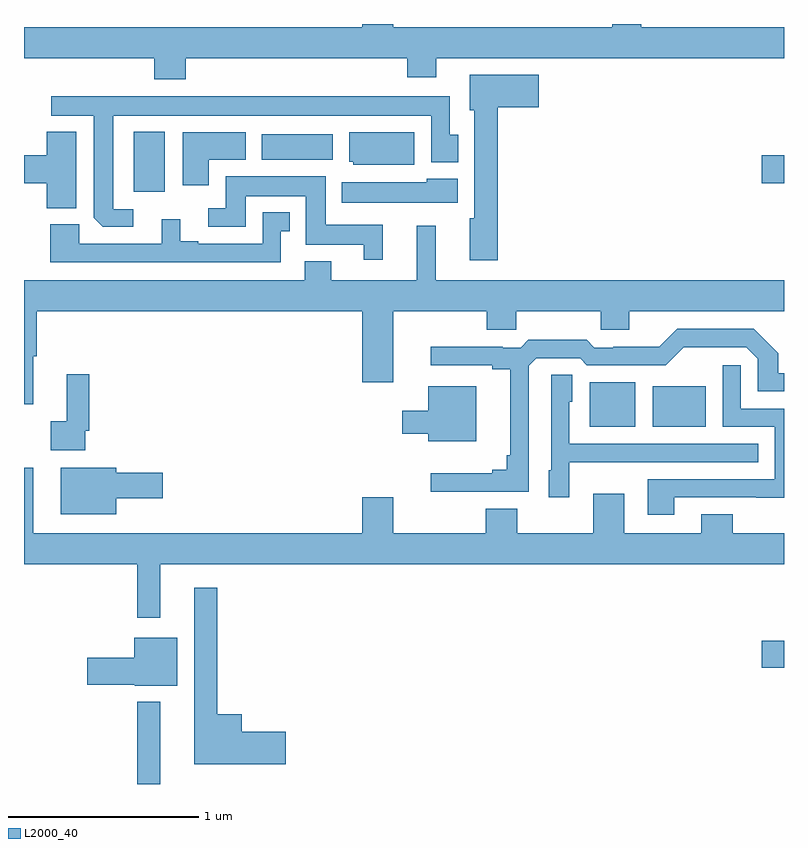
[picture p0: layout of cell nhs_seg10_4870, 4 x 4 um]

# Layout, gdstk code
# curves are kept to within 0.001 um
import gdstk
lib = gdstk.Library(unit=1e-6, precision=1e-09)
def R(c, l, rs):  # rectangles x0, y0, x1, y1
    for r in rs: c.add(gdstk.rectangle(r[:2], r[2:], *l))
def P(c, l, *ps):  # polygons
    for p in ps: c.add(gdstk.Polygon(p, *l))
L2000_40 = (2000, 40)

nhs_seg10_4870 = lib.new_cell('nhs_seg10_4870')
R(nhs_seg10_4870, L2000_40, [(391.596,1292.5,391.717,1292.932), (394.884,1293.113,395,1293.255), (393.977,1294.379,394.216,1294.615), (394.31,1294.379,394.588,1294.594), (391.577,1295.616,391.741,1295.932), (394.884,1295.663,395,1295.81), (392.252,1295.786,392.626,1295.92)])
P(nhs_seg10_4870, L2000_40, [(391.85,1296.32),(393.017,1296.32),(393.017,1296.221),(393.169,1296.221),(393.169,1296.32),(395,1296.32),(395,1296.484),(394.248,1296.484),(394.248,1296.5),(394.097,1296.5),(394.097,1296.484),(392.944,1296.484),(392.944,1296.5),(392.78,1296.5),(392.78,1296.484),(391,1296.484),(391,1296.32),(391.685,1296.32),(391.685,1296.209),(391.85,1296.209)],
  [(393.494,1296.062),(393.709,1296.062),(393.709,1296.232),(393.347,1296.232),(393.347,1296.045),(393.371,1296.045),(393.371,1295.478),(393.347,1295.478),(393.347,1295.256),(393.494,1295.256)],
  [(391.576,1295.526),(391.471,1295.526),(391.471,1296.017),(393.144,1296.017),(393.144,1295.772),(393.286,1295.772),(393.286,1295.916),(393.241,1295.916),(393.241,1296.121),(391.143,1296.121),(391.143,1296.017),(391.367,1296.017),(391.368,1295.479),(391.414,1295.433),(391.576,1295.433)],
  [(391.276,1295.932),(391.121,1295.932),(391.121,1295.81),(391,1295.81),(391,1295.663),(391.121,1295.663),(391.121,1295.531),(391.276,1295.531)],
  [(393.055,1295.929),(392.711,1295.929),(392.711,1295.775),(392.733,1295.775),(392.733,1295.759),(393.055,1295.759)],
  [(391.972,1295.786),(392.167,1295.786),(392.167,1295.929),(391.835,1295.929),(391.835,1295.652),(391.972,1295.652)],
  [(392.888,1295.443),(392.587,1295.443),(392.587,1295.698),(392.063,1295.698),(392.063,1295.529),(391.971,1295.529),(391.971,1295.433),(392.167,1295.433),(392.167,1295.594),(392.483,1295.594),(392.483,1295.339),(392.789,1295.339),(392.789,1295.259),(392.888,1295.259)],
  [(393.283,1295.686),(393.12,1295.686),(393.12,1295.668),(392.672,1295.668),(392.672,1295.558),(393.283,1295.558)],
  [(392.352,1295.409),(392.398,1295.409),(392.398,1295.509),(392.256,1295.509),(392.256,1295.343),(391.918,1295.343),(391.918,1295.356),(391.822,1295.356),(391.822,1295.473),(391.724,1295.473),(391.724,1295.343),(391.29,1295.343),(391.29,1295.446),(391.139,1295.446),(391.139,1295.247),(392.352,1295.247)],
  [(391.049,1294.752),(391.067,1294.752),(391.067,1294.988),(392.78,1294.988),(392.78,1294.614),(392.944,1294.614),(392.944,1294.988),(393.436,1294.988),(393.436,1294.89),(393.591,1294.89),(393.591,1294.988),(394.036,1294.988),(394.036,1294.89),(394.186,1294.89),(394.186,1294.988),(395,1294.988),(395,1295.152),(393.167,1295.152),(393.167,1295.437),(393.068,1295.437),(393.068,1295.152),(392.617,1295.152),(392.617,1295.251),(392.477,1295.251),(392.477,1295.152),(391,1295.152),(391,1294.5),(391.049,1294.5)],
  [(393.657,1294.701),(393.696,1294.74),(393.927,1294.74),(393.963,1294.704),(394.377,1294.704),(394.472,1294.799),(394.8,1294.8),(394.863,1294.737),(394.863,1294.566),(395,1294.566),(395,1294.663),(394.971,1294.663),(394.971,1294.766),(394.84,1294.896),(394.437,1294.896),(394.343,1294.802),(394.102,1294.802),(394.102,1294.797),(394.002,1294.797),(393.963,1294.837),(393.655,1294.837),(393.615,1294.797),(393.521,1294.797),(393.521,1294.802),(393.141,1294.802),(393.141,1294.704),(393.464,1294.704),(393.464,1294.682),(393.56,1294.682),(393.56,1294.231),(393.541,1294.231),(393.541,1294.154),(393.464,1294.154),(393.464,1294.135),(393.141,1294.135),(393.141,1294.038),(393.657,1294.038)],
  [(394.423,1294.008),(394.853,1294.008),(394.853,1294.007),(395,1294.007),(395,1294.476),(394.773,1294.476),(394.773,1294.705),(394.677,1294.705),(394.677,1294.38),(394.95,1294.38),(394.95,1294.104),(394.283,1294.104),(394.283,1293.918),(394.423,1293.918)],
  [(391.323,1294.36),(391.343,1294.36),(391.343,1294.657),(391.226,1294.657),(391.226,1294.409),(391.14,1294.409),(391.14,1294.256),(391.323,1294.256)],
  [(393.87,1294.193),(394.187,1294.193),(394.187,1294.194),(394.865,1294.194),(394.865,1294.29),(393.87,1294.29),(393.87,1294.512),(393.886,1294.512),(393.886,1294.655),(393.774,1294.655),(393.774,1294.152),(393.761,1294.152),(393.761,1294.008),(393.87,1294.008)],
  [(393.379,1294.594),(393.128,1294.594),(393.128,1294.465),(392.991,1294.465),(392.991,1294.343),(393.128,1294.343),(393.128,1294.304),(393.379,1294.304)],
  [(391.717,1293.656),(395,1293.656),(395,1293.82),(394.729,1293.82),(394.729,1293.919),(394.565,1293.919),(394.565,1293.82),(394.159,1293.82),(394.159,1294.027),(393.995,1294.027),(393.995,1293.82),(393.595,1293.82),(393.595,1293.949),(393.431,1293.949),(393.431,1293.82),(392.944,1293.82),(392.944,1294.009),(392.78,1294.009),(392.78,1293.82),(391.048,1293.82),(391.048,1294.165),(391,1294.165),(391,1293.656),(391.596,1293.656),(391.596,1293.375),(391.717,1293.375)],
  [(391.486,1294.004),(391.729,1294.004),(391.729,1294.139),(391.486,1294.139),(391.486,1294.165),(391.193,1294.165),(391.193,1293.92),(391.486,1293.92)],
  [(392.377,1292.774),(392.146,1292.774),(392.146,1292.866),(392.017,1292.866),(392.017,1293.532),(391.895,1293.532),(391.895,1292.603),(392.377,1292.603)],
  [(391.807,1293.271),(391.58,1293.271),(391.58,1293.165),(391.332,1293.165),(391.332,1293.023),(391.584,1293.023),(391.584,1293.017),(391.807,1293.017)])

lib.write_gds('nhs_seg10_4870.gds')
